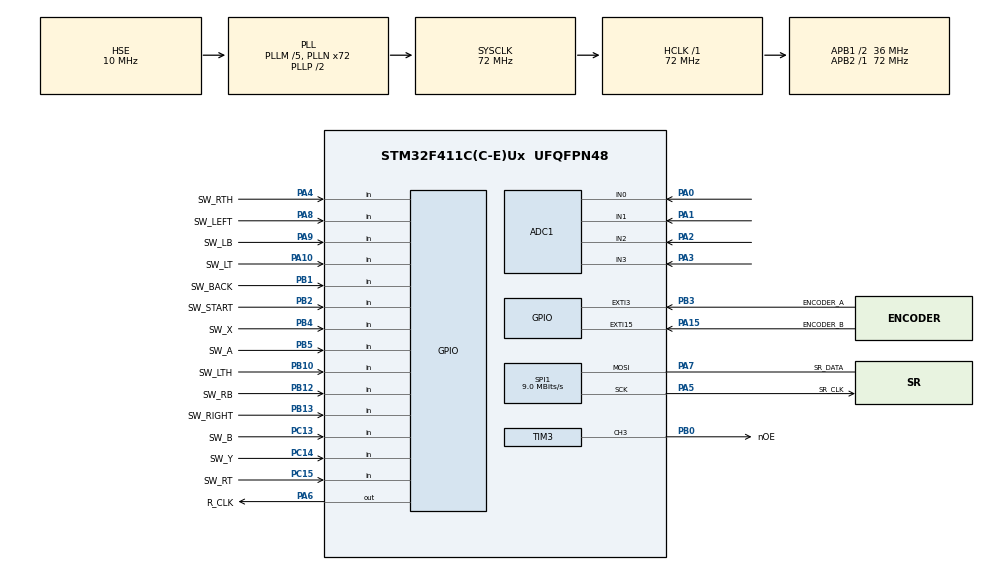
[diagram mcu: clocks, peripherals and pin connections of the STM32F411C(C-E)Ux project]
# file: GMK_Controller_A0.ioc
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ADC1.Channel-4\#ChannelRegularConversion=ADC_CHANNEL_0
ADC1.Channel-5\#ChannelRegularConversion=ADC_CHANNEL_1
ADC1.Channel-6\#ChannelRegularConversion=ADC_CHANNEL_2
ADC1.Channel-7\#ChannelRegularConversion=ADC_CHANNEL_3
ADC1.DMAContinuousRequests=ENABLE
ADC1.EOCSelection=ADC_EOC_SEQ_CONV
ADC1.NbrOfConversion=4
ADC1.NbrOfConversionFlag=1
ADC1.Rank-4\#ChannelRegularConversion=1
ADC1.Rank-5\#ChannelRegularConversion=2
ADC1.Rank-6\#ChannelRegularConversion=3
ADC1.Rank-7\#ChannelRegularConversion=4
ADC1.SamplingTime-4\#ChannelRegularConversion=ADC_SAMPLETIME_15CYCLES
ADC1.SamplingTime-5\#ChannelRegularConversion=ADC_SAMPLETIME_15CYCLES
ADC1.SamplingTime-6\#ChannelRegularConversion=ADC_SAMPLETIME_15CYCLES
ADC1.SamplingTime-7\#ChannelRegularConversion=ADC_SAMPLETIME_15CYCLES
ADC1.ScanConvMode=ENABLE
ADC1.master=1
Dma.ADC1.0.Direction=DMA_PERIPH_TO_MEMORY
Dma.ADC1.0.FIFOMode=DMA_FIFOMODE_DISABLE
Dma.ADC1.0.Instance=DMA2_Stream0
Dma.ADC1.0.MemDataAlignment=DMA_MDATAALIGN_HALFWORD
Dma.ADC1.0.MemInc=DMA_MINC_ENABLE
Dma.ADC1.0.Mode=DMA_NORMAL
Dma.ADC1.0.PeriphDataAlignment=DMA_PDATAALIGN_HALFWORD
Dma.ADC1.0.PeriphInc=DMA_PINC_DISABLE
Dma.ADC1.0.Priority=DMA_PRIORITY_LOW
Dma.Request0=ADC1
Mcu.Family=STM32F4
Mcu.Name=STM32F411C(C-E)Ux
Mcu.Package=UFQFPN48
NVIC.ADC_IRQn=true\:0\:0\:false\:false\:true\:true\:true\:true
NVIC.DMA2_Stream0_IRQn=true\:0\:0\:false\:false\:true\:false\:true\:true
NVIC.EXTI15_10_IRQn=true\:0\:0\:true\:false\:true\:true\:true\:true
NVIC.EXTI3_IRQn=true\:0\:0\:false\:false\:true\:true\:true\:true
NVIC.PriorityGroup=NVIC_PRIORITYGROUP_4
NVIC.SPI1_IRQn=true\:1\:0\:true\:false\:true\:true\:true\:true
NVIC.TIM1_CC_IRQn=true\:1\:0\:true\:false\:true\:true\:true\:true
PA0-WKUP.Signal=ADCx_IN0
PA1.Signal=ADCx_IN1
PA10.GPIO_Label=SW_LT
PA10.GPIO_PuPd=GPIO_PULLDOWN
PA10.Signal=GPIO_Input
PA13.Mode=Serial_Wire
PA13.Signal=SYS_JTMS-SWDIO
PA14.Mode=Serial_Wire
PA14.Signal=SYS_JTCK-SWCLK
PA15.GPIO_Label=ENCODER_B
PA15.GPIO_ModeDefaultEXTI=GPIO_MODE_IT_RISING_FALLING
PA15.Signal=GPXTI15
PA2.Signal=ADCx_IN2
PA3.Signal=ADCx_IN3
PA4.GPIO_Label=SW_RTH
PA4.GPIO_PuPd=GPIO_PULLDOWN
PA4.Signal=GPIO_Input
PA5.GPIO_Label=SR_CLK
PA5.Mode=Simplex_Bidirectional_Master
PA5.Signal=SPI1_SCK
PA6.GPIO_Label=R_CLK
PA6.Signal=GPIO_Output
PA7.GPIO_Label=SR_DATA
PA7.Mode=Simplex_Bidirectional_Master
PA7.Signal=SPI1_MOSI
PA8.GPIO_Label=SW_LEFT
PA8.GPIO_PuPd=GPIO_PULLDOWN
PA8.Signal=GPIO_Input
PA9.GPIO_Label=SW_LB
PA9.GPIO_PuPd=GPIO_PULLDOWN
PA9.Signal=GPIO_Input
PB0.GPIO_Label=nOE
PB0.Signal=S_TIM3_CH3
PB1.GPIO_Label=SW_BACK
PB1.GPIO_PuPd=GPIO_PULLDOWN
PB1.Signal=GPIO_Input
PB10.GPIO_Label=SW_LTH
PB10.GPIO_PuPd=GPIO_PULLDOWN
PB10.Signal=GPIO_Input
PB12.GPIO_Label=SW_RB
PB12.GPIO_PuPd=GPIO_PULLDOWN
PB12.Signal=GPIO_Input
PB13.GPIO_Label=SW_RIGHT
PB13.GPIO_PuPd=GPIO_PULLDOWN
PB13.Signal=GPIO_Input
PB2.GPIO_Label=SW_START
PB2.GPIO_PuPd=GPIO_PULLDOWN
PB2.Signal=GPIO_Input
PB3.GPIO_Label=ENCODER_A
PB3.GPIO_ModeDefaultEXTI=GPIO_MODE_IT_RISING_FALLING
PB3.Signal=GPXTI3
PB4.GPIO_Label=SW_X
PB4.GPIO_PuPd=GPIO_PULLDOWN
PB4.Signal=GPIO_Input
PB5.GPIO_Label=SW_A
PB5.GPIO_PuPd=GPIO_PULLDOWN
PB5.Signal=GPIO_Input
PC13-ANTI_TAMP.GPIO_Label=SW_B
PC13-ANTI_TAMP.GPIO_PuPd=GPIO_PULLDOWN
PC13-ANTI_TAMP.Signal=GPIO_Input
PC14-OSC32_IN.GPIO_Label=SW_Y
PC14-OSC32_IN.GPIO_PuPd=GPIO_PULLDOWN
PC14-OSC32_IN.Signal=GPIO_Input
PC15-OSC32_OUT.GPIO_Label=SW_RT
PC15-OSC32_OUT.GPIO_PuPd=GPIO_PULLDOWN
PC15-OSC32_OUT.Signal=GPIO_Input
PH0\ -\ OSC_IN.Mode=HSE-External-Oscillator
PH0\ -\ OSC_IN.Signal=RCC_OSC_IN
PH1\ -\ OSC_OUT.Mode=HSE-External-Oscillator
PH1\ -\ OSC_OUT.Signal=RCC_OSC_OUT
ProjectManager.HeapSize=0x200
ProjectManager.StackSize=0x400
ProjectManager.TargetToolchain=STM32CubeIDE
RCC.48MHZClocksFreq_Value=48000000
RCC.AHBFreq_Value=72000000
RCC.APB1CLKDivider=RCC_HCLK_DIV2
RCC.APB1Freq_Value=36000000
RCC.APB1TimFreq_Value=72000000
RCC.APB2Freq_Value=72000000
RCC.APB2TimFreq_Value=72000000
RCC.CortexFreq_Value=72000000
RCC.HCLKFreq_Value=72000000
RCC.HSE_VALUE=10000000
RCC.HSI_VALUE=16000000
RCC.LSE_VALUE=32768
RCC.PLLM=5
RCC.PLLN=72
RCC.PLLQ=3
RCC.PLLSourceVirtual=RCC_PLLSOURCE_HSE
RCC.SYSCLKFreq_VALUE=72000000
RCC.SYSCLKSource=RCC_SYSCLKSOURCE_PLLCLK
RCC.VCOOutputFreq_Value=144000000
SH.ADCx_IN0.0=ADC1_IN0,IN0
SH.ADCx_IN1.0=ADC1_IN1,IN1
SH.ADCx_IN2.0=ADC1_IN2,IN2
SH.ADCx_IN3.0=ADC1_IN3,IN3
SH.S_TIM3_CH3.0=TIM3_CH3,PWM Generation3 CH3
SPI1.BaudRatePrescaler=SPI_BAUDRATEPRESCALER_8
SPI1.CalculateBaudRate=9.0 MBits/s
SPI1.Direction=SPI_DIRECTION_1LINE
SPI1.FirstBit=SPI_FIRSTBIT_LSB
SPI1.Mode=SPI_MODE_MASTER
SPI1.VirtualType=VM_MASTER
TIM1.AutoReloadPreload=TIM_AUTORELOAD_PRELOAD_ENABLE
TIM1.AutomaticOutput=TIM_AUTOMATICOUTPUT_DISABLE
TIM1.Channel-Output\ Compare1\ No\ Output=TIM_CHANNEL_1
TIM1.Channel-Output\ Compare2\ No\ Output=TIM_CHANNEL_2
TIM1.Channel-Output\ Compare3\ No\ Output=TIM_CHANNEL_3
TIM1.Channel-Output\ Compare4\ No\ Output=TIM_CHANNEL_4
TIM1.OC1Preload=ENABLE
TIM1.OC2Preload=ENABLE
TIM1.OC3Preload=ENABLE
TIM1.OC4Preload=ENABLE
TIM1.OCMode_1=TIM_OCMODE_ACTIVE
TIM1.OCMode_2=TIM_OCMODE_ACTIVE
TIM1.OCMode_3=TIM_OCMODE_ACTIVE
TIM1.OCMode_4=TIM_OCMODE_ACTIVE
TIM1.OCPolarity_1=TIM_OCPOLARITY_HIGH
TIM1.OCPolarity_2=TIM_OCPOLARITY_HIGH
TIM1.OCPolarity_3=TIM_OCPOLARITY_HIGH
TIM1.OCPolarity_4=TIM_OCPOLARITY_HIGH
TIM1.OffStateIDLEMode=TIM_OSSI_DISABLE
TIM1.Period=719
TIM1.Prescaler=99
TIM1.Pulse-Output\ Compare1\ No\ Output=179
TIM1.Pulse-Output\ Compare2\ No\ Output=359
TIM1.Pulse-Output\ Compare3\ No\ Output=539
TIM1.Pulse-Output\ Compare4\ No\ Output=3599
TIM1.TIM_MasterOutputTrigger=TIM_TRGO_RESET
TIM3.Channel-PWM\ Generation3\ CH3=TIM_CHANNEL_3
TIM3.OCFastMode_PWM-PWM\ Generation3\ CH3=TIM_OCFAST_ENABLE
TIM3.OCPolarity_3=TIM_OCPOLARITY_LOW
TIM3.Period=255
TIM3.Prescaler=2343
TIM3.Pulse-PWM\ Generation3\ CH3=0
VP_TIM1_VS_ClockSourceINT.Mode=Internal
VP_TIM1_VS_no_output1.Mode=Output Compare1 No Output
VP_TIM1_VS_no_output2.Mode=Output Compare2 No Output
VP_TIM1_VS_no_output3.Mode=Output Compare3 No Output
VP_TIM1_VS_no_output4.Mode=Output Compare4 No Output
VP_TIM2_VS_ClockSourceINT.Mode=Internal
VP_TIM3_VS_ClockSourceINT.Mode=Internal
VP_TIM4_VS_ClockSourceINT.Mode=Internal
board=custom

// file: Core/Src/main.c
/* USER CODE BEGIN Header */
/**
  ******************************************************************************
  * @file           : main.c
  * @brief          : Main program body
  ******************************************************************************
  * @attention
  *
  * <h2><center>&copy; Copyright (c) 2021 STMicroelectronics.
  * All rights reserved.</center></h2>
  *
  *
  * This software component is licensed by ST under BSD 3-Clause license,
  * the "License"; You may not use this file except in compliance with the
  * License. You may obtain a copy of the License at:
  *                        opensource.org/licenses/BSD-3-Clause
  *
  ******************************************************************************
  */
/* USER CODE END Header */
#include "main.h"

/* USER CODE BEGIN Includes */

#include "stm32f4xx_hal.h"
#include "usb_device.h"
#include "usbd_hid.h"
#include "buttonswitch.h"
#include "led_controller.h"
#include "controller_config.h"
#include "rotary_encoder.h"
#include "joystick.h"
#include "serial_comm.h"

/* USER CODE END Includes */

ADC_HandleTypeDef hadc1;
DMA_HandleTypeDef hdma_adc1;

SPI_HandleTypeDef hspi1;

TIM_HandleTypeDef htim1;
TIM_HandleTypeDef htim2;
TIM_HandleTypeDef htim3;
TIM_HandleTypeDef htim4;

/* USER CODE BEGIN PV */

//Declare ADC buffer for joysticks
uint16_t adc_buffer[4];

//Create event buffer (FIFO) to store events to process
State_TypeDef event_state[EVENT_BUFFER_LENGTH];
uint8_t event_index_read = 0;
uint8_t event_index_write = 0;
uint8_t event_difference = 0;

//Keyboard Event buffer (FIFO) to store keyboard event addresses and string lengths
uint8_t *keyboard_event_string_addresses[KEYBOARD_EVENT_BUFFER_LENGTH];
uint8_t keyboard_event_string_lengths[KEYBOARD_EVENT_BUFFER_LENGTH];
uint8_t keyboard_event_index_read = 0;
uint8_t keyboard_event_index_write = 0;

//Declare Joysticks
Joystick_HandleTypeDef joysticks[2];

//Declare RotaryEncoder
RotaryEncoder_HandleTypeDef rotary_encoder;

//Declare ButtonSwitches
ButtonSwitch_HandleTypeDef buttons[14];

//Declare controller configuration profile, default to 0 on reset
uint8_t controller_config_profile = 0;

//Declare led controller
LED_Controller_HandleTypeDef led_controller;

//Declare controller configuration
Controller_Config_HandleTypeDef controller_config;

//Declare controller data
Controller_HandleTypeDef controller;
uint8_t controller_cdc_output_flag = 0;

/* USER CODE END PV */

void SystemClock_Config(void);
static void MX_GPIO_Init(void);
static void MX_DMA_Init(void);
static void MX_TIM1_Init(void);
static void MX_TIM2_Init(void);
static void MX_TIM3_Init(void);
static void MX_SPI1_Init(void);
static void MX_ADC1_Init(void);
static void MX_TIM4_Init(void);
/* USER CODE BEGIN PFP */

extern void Send_HID_Data(Controller_HandleTypeDef* controller);

/* USER CODE END PFP */

int main(void)
{

  /* MCU Configuration--------------------------------------------------------*/

  /* Reset of all peripherals, Initializes the Flash interface and the Systick. */
  HAL_Init();

  /* Configure the system clock */
  SystemClock_Config();

  /* Initialize all configured peripherals */
  MX_GPIO_Init();
  MX_DMA_Init();
  MX_TIM1_Init();
  MX_TIM2_Init();
  MX_TIM3_Init();
  MX_SPI1_Init();
  MX_ADC1_Init();
  MX_TIM4_Init();
  /* USER CODE BEGIN 2 */

  //Initialize USB
  HAL_USBD_Setup();
  UsbDevice_Init();

  //Start Timers 2 & 4
  HAL_TIM_Base_Start(&htim2);
  HAL_TIM_Base_Start(&htim4);

  //Start PWM Timer 3 channel 3
  HAL_TIM_PWM_Start(&htim3, TIM_CHANNEL_3);

  //Start OC Timer 1 channels 1 through 4
  HAL_TIM_OC_Start_IT(&htim1, TIM_CHANNEL_1);
  HAL_TIM_OC_Start_IT(&htim1, TIM_CHANNEL_2);
  HAL_TIM_OC_Start_IT(&htim1, TIM_CHANNEL_3);
  HAL_TIM_OC_Start_IT(&htim1, TIM_CHANNEL_4);

  //Initialize Joysticks
  joysticks[0] = Joystick_Init(&adc_buffer[0], &adc_buffer[1], JOYSTICK_LEFT_FLIP_X, JOYSTICK_LEFT_FLIP_Y); // Left joystick
  joysticks[1] = Joystick_Init(&adc_buffer[2], &adc_buffer[3], JOYSTICK_RIGHT_FLIP_X, JOYSTICK_RIGHT_FLIP_Y); // Right joystick

  //Initialize RotaryEncoder
  rotary_encoder = RotaryEncoder_Init(&htim2, ENCODER_A_GPIO_Port, ENCODER_A_Pin, ENCODER_B_GPIO_Port, ENCODER_B_Pin, 12.0f, 24.0f, 72000000.0f, 0); // 12 PPR, 24 DPP & 72 MHz, non-inverted

  //Initialize ButtonSwitches
  buttons[0] = ButtonSwitch_Init(&htim2, SW_A_GPIO_Port, SW_A_Pin, GPIO_PIN_RESET);
  buttons[1] = ButtonSwitch_Init(&htim2, SW_B_GPIO_Port, SW_B_Pin, GPIO_PIN_RESET);
  buttons[2] = ButtonSwitch_Init(&htim2, SW_X_GPIO_Port, SW_X_Pin, GPIO_PIN_RESET);
  buttons[3] = ButtonSwitch_Init(&htim2, SW_Y_GPIO_Port, SW_Y_Pin, GPIO_PIN_RESET);
  buttons[4] = ButtonSwitch_Init(&htim2, SW_LB_GPIO_Port, SW_LB_Pin, GPIO_PIN_RESET);
  buttons[5] = ButtonSwitch_Init(&htim2, SW_RB_GPIO_Port, SW_RB_Pin, GPIO_PIN_RESET);
  buttons[6] = ButtonSwitch_Init(&htim2, SW_LTH_GPIO_Port, SW_LTH_Pin, GPIO_PIN_RESET);
  buttons[7] = ButtonSwitch_Init(&htim2, SW_RTH_GPIO_Port, SW_RTH_Pin, GPIO_PIN_RESET);
  buttons[8] = ButtonSwitch_Init(&htim2, SW_LEFT_GPIO_Port, SW_LEFT_Pin, GPIO_PIN_RESET);
  buttons[9] = ButtonSwitch_Init(&htim2, SW_RIGHT_GPIO_Port, SW_RIGHT_Pin, GPIO_PIN_RESET);
  buttons[10] = ButtonSwitch_Init(&htim2, SW_START_GPIO_Port, SW_START_Pin, GPIO_PIN_RESET);
  buttons[11] = ButtonSwitch_Init(&htim2, SW_BACK_GPIO_Port, SW_BACK_Pin, GPIO_PIN_RESET);
  buttons[12] = ButtonSwitch_Init(&htim2, SW_LT_GPIO_Port, SW_LT_Pin, GPIO_PIN_RESET);
  buttons[13] = ButtonSwitch_Init(&htim2, SW_RT_GPIO_Port, SW_RT_Pin, GPIO_PIN_RESET);

  //Initialize Led Controller
  led_controller = LED_Controller_Init(&htim3, &hspi1, R_CLK_GPIO_Port, R_CLK_Pin, &(htim3.Instance->CCR3));

  //Initialize controller configuration with first profile
  controller_config = Controller_Config_Init(controller_config_profile, &led_controller);

  /* USER CODE END 2 */

  /* Infinite loop */
  /* USER CODE BEGIN WHILE */

  //Initialize the event state buffer
  for(uint8_t i = 0; i < EVENT_BUFFER_LENGTH; i++){
	  event_state[i] = EVENT_WAIT;
  }

  while (1)
  {
	LED_Controller_Update(&led_controller); //Update LED Color
	switch(event_state[event_index_read]){
		case EVENT_WAIT:
			UpdateAllButtons(); //Read Button States
			break;
		case TIM_EVENT_1:
			HAL_ADC_Start_DMA(&hadc1, (uint32_t *)adc_buffer, 4); //Trigger Joystick ADC read
			break;
		case TIM_EVENT_2:
			Controller_Config_MapControllerData(&controller_config, &controller); //Map Controller Configuration Data
			break;
		case TIM_EVENT_3:
			write_next_event_state(USB_EVENT_HID_GAMEPAD_UPDATE);
			break;
		case TIM_EVENT_4:
			if(controller_cdc_output_flag){
				_write(0, &controller, sizeof(controller)); //Write to USB
				controller_cdc_output_flag = 0;
			}
			Serial_Comm_CheckMessages(); //Read incoming messages
			break;
		case ADC_EVENT_UPDATE:
			Joystick_Update(&(joysticks[0]));
			Joystick_Update(&(joysticks[1]));
			if(joysticks[0].calibrate.flag && joysticks[0].calibrate.iters > 1){
				LED_Controller_ProgressBarUpdate(&led_controller, (1 - ((float)joysticks[0].calibrate.iters / (float)joysticks[0].calibrate.iters_max)));
			}
			else if(joysticks[0].calibrate.iters == 1)
				LED_Controller_ProgressBarDisable(&led_controller);
			break;
		case USB_EVENT_CHANGE_PROFILE:
			Controller_Config_GetConfig(&controller_config, controller_config_profile);
			break;
		case CALIBRATE_JOYSTICKS_EVENT:
			LED_Controller_ProgressBarEnable(&led_controller);
			LED_Controller_ProgressBarUpdate(&led_controller, 0.0f);
			Joystick_Calibrate(&(joysticks[0]), 1000, 0.05f);
			Joystick_Calibrate(&(joysticks[1]), 1000, 0.05f);
			break;
		case USB_EVENT_PING:
			_write(0, &controller_config_profile, sizeof(controller_config_profile));
			break;
		case USB_EVENT_OUTPUT_CONTROLLER_DATA:
			controller_cdc_output_flag = 1;
			break;
		case USB_EVENT_HID_KEYBOARD_UPDATE:
			if(keyboard_event_index_write != keyboard_event_index_read){
				// TODO: Implement a Send Keyboard Event via HID
				event_index_read = (event_index_read + 1) % KEYBOARD_EVENT_BUFFER_LENGTH;
			}
			break;
		case USB_EVENT_HID_GAMEPAD_UPDATE:
			Send_HID_Data(&controller);
			break;
	}
	if(event_index_read != event_index_write){
		event_index_read = (event_index_read + 1) % EVENT_BUFFER_LENGTH;
	}
	else
		write_next_event_state(EVENT_WAIT);
	event_difference = (event_index_write >= event_index_read) ? event_index_write - event_index_read : event_index_write + (UINT8_MAX - event_index_read);
    /* USER CODE END WHILE */

  }
}

void SystemClock_Config(void)
{
  RCC_OscInitTypeDef RCC_OscInitStruct = {0};
  RCC_ClkInitTypeDef RCC_ClkInitStruct = {0};

  /** Configure the main internal regulator output voltage
  */
  __HAL_RCC_PWR_CLK_ENABLE();
  __HAL_PWR_VOLTAGESCALING_CONFIG(PWR_REGULATOR_VOLTAGE_SCALE1);

  /** Initializes the RCC Oscillators according to the specified parameters
  * in the RCC_OscInitTypeDef structure.
  */
  RCC_OscInitStruct.OscillatorType = RCC_OSCILLATORTYPE_HSE;
  RCC_OscInitStruct.HSEState = RCC_HSE_ON;
  RCC_OscInitStruct.PLL.PLLState = RCC_PLL_ON;
  RCC_OscInitStruct.PLL.PLLSource = RCC_PLLSOURCE_HSE;
  RCC_OscInitStruct.PLL.PLLM = 5;
  RCC_OscInitStruct.PLL.PLLN = 72;
  RCC_OscInitStruct.PLL.PLLP = RCC_PLLP_DIV2;
  RCC_OscInitStruct.PLL.PLLQ = 3;
  if (HAL_RCC_OscConfig(&RCC_OscInitStruct) != HAL_OK)
  {
    Error_Handler();
  }

  /** Initializes the CPU, AHB and APB buses clocks
  */
  RCC_ClkInitStruct.ClockType = RCC_CLOCKTYPE_HCLK|RCC_CLOCKTYPE_SYSCLK
                              |RCC_CLOCKTYPE_PCLK1|RCC_CLOCKTYPE_PCLK2;
  RCC_ClkInitStruct.SYSCLKSource = RCC_SYSCLKSOURCE_PLLCLK;
  RCC_ClkInitStruct.AHBCLKDivider = RCC_SYSCLK_DIV1;
  RCC_ClkInitStruct.APB1CLKDivider = RCC_HCLK_DIV2;
  RCC_ClkInitStruct.APB2CLKDivider = RCC_HCLK_DIV1;

  if (HAL_RCC_ClockConfig(&RCC_ClkInitStruct, FLASH_LATENCY_2) != HAL_OK)
  {
    Error_Handler();
  }
}

static void MX_ADC1_Init(void)
{

  ADC_ChannelConfTypeDef sConfig = {0};

  /** Configure the global features of the ADC (Clock, Resolution, Data Alignment and number of conversion)
  */
  hadc1.Instance = ADC1;
  hadc1.Init.ClockPrescaler = ADC_CLOCK_SYNC_PCLK_DIV2;
  hadc1.Init.Resolution = ADC_RESOLUTION_12B;
  hadc1.Init.ScanConvMode = ENABLE;
  hadc1.Init.ContinuousConvMode = DISABLE;
  hadc1.Init.DiscontinuousConvMode = DISABLE;
  hadc1.Init.ExternalTrigConvEdge = ADC_EXTERNALTRIGCONVEDGE_NONE;
  hadc1.Init.ExternalTrigConv = ADC_SOFTWARE_START;
  hadc1.Init.DataAlign = ADC_DATAALIGN_RIGHT;
  hadc1.Init.NbrOfConversion = 4;
  hadc1.Init.DMAContinuousRequests = ENABLE;
  hadc1.Init.EOCSelection = ADC_EOC_SEQ_CONV;
  if (HAL_ADC_Init(&hadc1) != HAL_OK)
  {
    Error_Handler();
  }

  /** Configure for the selected ADC regular channel its corresponding rank in the sequencer and its sample time.
  */
  sConfig.Channel = ADC_CHANNEL_0;
  sConfig.Rank = 1;
  sConfig.SamplingTime = ADC_SAMPLETIME_15CYCLES;
  if (HAL_ADC_ConfigChannel(&hadc1, &sConfig) != HAL_OK)
  {
    Error_Handler();
  }

  /** Configure for the selected ADC regular channel its corresponding rank in the sequencer and its sample time.
  */
  sConfig.Channel = ADC_CHANNEL_1;
  sConfig.Rank = 2;
  if (HAL_ADC_ConfigChannel(&hadc1, &sConfig) != HAL_OK)
  {
    Error_Handler();
  }

  /** Configure for the selected ADC regular channel its corresponding rank in the sequencer and its sample time.
  */
  sConfig.Channel = ADC_CHANNEL_2;
  sConfig.Rank = 3;
  if (HAL_ADC_ConfigChannel(&hadc1, &sConfig) != HAL_OK)
  {
    Error_Handler();
  }

  /** Configure for the selected ADC regular channel its corresponding rank in the sequencer and its sample time.
  */
  sConfig.Channel = ADC_CHANNEL_3;
  sConfig.Rank = 4;
  if (HAL_ADC_ConfigChannel(&hadc1, &sConfig) != HAL_OK)
  {
    Error_Handler();
  }

}

static void MX_SPI1_Init(void)
{

  /* SPI1 parameter configuration*/
  hspi1.Instance = SPI1;
  hspi1.Init.Mode = SPI_MODE_MASTER;
  hspi1.Init.Direction = SPI_DIRECTION_1LINE;
  hspi1.Init.DataSize = SPI_DATASIZE_8BIT;
  hspi1.Init.CLKPolarity = SPI_POLARITY_LOW;
  hspi1.Init.CLKPhase = SPI_PHASE_1EDGE;
  hspi1.Init.NSS = SPI_NSS_SOFT;
  hspi1.Init.BaudRatePrescaler = SPI_BAUDRATEPRESCALER_8;
  hspi1.Init.FirstBit = SPI_FIRSTBIT_LSB;
  hspi1.Init.TIMode = SPI_TIMODE_DISABLE;
  hspi1.Init.CRCCalculation = SPI_CRCCALCULATION_DISABLE;
  hspi1.Init.CRCPolynomial = 10;
  if (HAL_SPI_Init(&hspi1) != HAL_OK)
  {
    Error_Handler();
  }

}

static void MX_TIM1_Init(void)
{

  TIM_ClockConfigTypeDef sClockSourceConfig = {0};
  TIM_MasterConfigTypeDef sMasterConfig = {0};
  TIM_OC_InitTypeDef sConfigOC = {0};
  TIM_BreakDeadTimeConfigTypeDef sBreakDeadTimeConfig = {0};

  htim1.Instance = TIM1;
  htim1.Init.Prescaler = 99;
  htim1.Init.CounterMode = TIM_COUNTERMODE_UP;
  htim1.Init.Period = 719;
  htim1.Init.ClockDivision = TIM_CLOCKDIVISION_DIV1;
  htim1.Init.RepetitionCounter = 0;
  htim1.Init.AutoReloadPreload = TIM_AUTORELOAD_PRELOAD_ENABLE;
  if (HAL_TIM_Base_Init(&htim1) != HAL_OK)
  {
    Error_Handler();
  }
  sClockSourceConfig.ClockSource = TIM_CLOCKSOURCE_INTERNAL;
  if (HAL_TIM_ConfigClockSource(&htim1, &sClockSourceConfig) != HAL_OK)
  {
    Error_Handler();
  }
  if (HAL_TIM_OC_Init(&htim1) != HAL_OK)
  {
    Error_Handler();
  }
  sMasterConfig.MasterOutputTrigger = TIM_TRGO_RESET;
  sMasterConfig.MasterSlaveMode = TIM_MASTERSLAVEMODE_DISABLE;
  if (HAL_TIMEx_MasterConfigSynchronization(&htim1, &sMasterConfig) != HAL_OK)
  {
    Error_Handler();
  }
  sConfigOC.OCMode = TIM_OCMODE_ACTIVE;
  sConfigOC.Pulse = 179;
  sConfigOC.OCPolarity = TIM_OCPOLARITY_HIGH;
  sConfigOC.OCNPolarity = TIM_OCNPOLARITY_HIGH;
  sConfigOC.OCFastMode = TIM_OCFAST_DISABLE;
  sConfigOC.OCIdleState = TIM_OCIDLESTATE_RESET;
  sConfigOC.OCNIdleState = TIM_OCNIDLESTATE_RESET;
  if (HAL_TIM_OC_ConfigChannel(&htim1, &sConfigOC, TIM_CHANNEL_1) != HAL_OK)
  {
    Error_Handler();
  }
  __HAL_TIM_ENABLE_OCxPRELOAD(&htim1, TIM_CHANNEL_1);
  sConfigOC.Pulse = 359;
  if (HAL_TIM_OC_ConfigChannel(&htim1, &sConfigOC, TIM_CHANNEL_2) != HAL_OK)
  {
    Error_Handler();
  }
  __HAL_TIM_ENABLE_OCxPRELOAD(&htim1, TIM_CHANNEL_2);
  sConfigOC.Pulse = 539;
  if (HAL_TIM_OC_ConfigChannel(&htim1, &sConfigOC, TIM_CHANNEL_3) != HAL_OK)
  {
    Error_Handler();
  }
  __HAL_TIM_ENABLE_OCxPRELOAD(&htim1, TIM_CHANNEL_3);
  sConfigOC.Pulse = 3599;
  if (HAL_TIM_OC_ConfigChannel(&htim1, &sConfigOC, TIM_CHANNEL_4) != HAL_OK)
  {
    Error_Handler();
  }
  __HAL_TIM_ENABLE_OCxPRELOAD(&htim1, TIM_CHANNEL_4);
  sBreakDeadTimeConfig.OffStateRunMode = TIM_OSSR_DISABLE;
  sBreakDeadTimeConfig.OffStateIDLEMode = TIM_OSSI_DISABLE;
  sBreakDeadTimeConfig.LockLevel = TIM_LOCKLEVEL_OFF;
  sBreakDeadTimeConfig.DeadTime = 0;
  sBreakDeadTimeConfig.BreakState = TIM_BREAK_DISABLE;
  sBreakDeadTimeConfig.BreakPolarity = TIM_BREAKPOLARITY_HIGH;
  sBreakDeadTimeConfig.AutomaticOutput = TIM_AUTOMATICOUTPUT_DISABLE;
  if (HAL_TIMEx_ConfigBreakDeadTime(&htim1, &sBreakDeadTimeConfig) != HAL_OK)
  {
    Error_Handler();
  }

}

static void MX_TIM2_Init(void)
{

  TIM_ClockConfigTypeDef sClockSourceConfig = {0};
  TIM_MasterConfigTypeDef sMasterConfig = {0};

  htim2.Instance = TIM2;
  htim2.Init.Prescaler = 0;
  htim2.Init.CounterMode = TIM_COUNTERMODE_UP;
  htim2.Init.Period = 4294967295;
  htim2.Init.ClockDivision = TIM_CLOCKDIVISION_DIV1;
  htim2.Init.AutoReloadPreload = TIM_AUTORELOAD_PRELOAD_DISABLE;
  if (HAL_TIM_Base_Init(&htim2) != HAL_OK)
  {
    Error_Handler();
  }
  sClockSourceConfig.ClockSource = TIM_CLOCKSOURCE_INTERNAL;
  if (HAL_TIM_ConfigClockSource(&htim2, &sClockSourceConfig) != HAL_OK)
  {
    Error_Handler();
  }
  sMasterConfig.MasterOutputTrigger = TIM_TRGO_RESET;
  sMasterConfig.MasterSlaveMode = TIM_MASTERSLAVEMODE_DISABLE;
  if (HAL_TIMEx_MasterConfigSynchronization(&htim2, &sMasterConfig) != HAL_OK)
  {
    Error_Handler();
  }

}

static void MX_TIM3_Init(void)
{

  TIM_ClockConfigTypeDef sClockSourceConfig = {0};
  TIM_MasterConfigTypeDef sMasterConfig = {0};
  TIM_OC_InitTypeDef sConfigOC = {0};

  htim3.Instance = TIM3;
  htim3.Init.Prescaler = 2343;
  htim3.Init.CounterMode = TIM_COUNTERMODE_UP;
  htim3.Init.Period = 255;
  htim3.Init.ClockDivision = TIM_CLOCKDIVISION_DIV1;
  htim3.Init.AutoReloadPreload = TIM_AUTORELOAD_PRELOAD_DISABLE;
  if (HAL_TIM_Base_Init(&htim3) != HAL_OK)
  {
    Error_Handler();
  }
  sClockSourceConfig.ClockSource = TIM_CLOCKSOURCE_INTERNAL;
  if (HAL_TIM_ConfigClockSource(&htim3, &sClockSourceConfig) != HAL_OK)
  {
    Error_Handler();
  }
  if (HAL_TIM_PWM_Init(&htim3) != HAL_OK)
  {
    Error_Handler();
  }
  sMasterConfig.MasterOutputTrigger = TIM_TRGO_RESET;
  sMasterConfig.MasterSlaveMode = TIM_MASTERSLAVEMODE_DISABLE;
  if (HAL_TIMEx_MasterConfigSynchronization(&htim3, &sMasterConfig) != HAL_OK)
  {
    Error_Handler();
  }
  sConfigOC.OCMode = TIM_OCMODE_PWM1;
  sConfigOC.Pulse = 0;
  sConfigOC.OCPolarity = TIM_OCPOLARITY_LOW;
  sConfigOC.OCFastMode = TIM_OCFAST_ENABLE;
  if (HAL_TIM_PWM_ConfigChannel(&htim3, &sConfigOC, TIM_CHANNEL_3) != HAL_OK)
  {
    Error_Handler();
  }
  HAL_TIM_MspPostInit(&htim3);

}

static void MX_TIM4_Init(void)
{

  TIM_ClockConfigTypeDef sClockSourceConfig = {0};
  TIM_MasterConfigTypeDef sMasterConfig = {0};

  htim4.Instance = TIM4;
  htim4.Init.Prescaler = 0;
  htim4.Init.CounterMode = TIM_COUNTERMODE_UP;
  htim4.Init.Period = 65535;
  htim4.Init.ClockDivision = TIM_CLOCKDIVISION_DIV1;
  htim4.Init.AutoReloadPreload = TIM_AUTORELOAD_PRELOAD_DISABLE;
  if (HAL_TIM_Base_Init(&htim4) != HAL_OK)
  {
    Error_Handler();
  }
  sClockSourceConfig.ClockSource = TIM_CLOCKSOURCE_INTERNAL;
  if (HAL_TIM_ConfigClockSource(&htim4, &sClockSourceConfig) != HAL_OK)
  {
    Error_Handler();
  }
  sMasterConfig.MasterOutputTrigger = TIM_TRGO_RESET;
  sMasterConfig.MasterSlaveMode = TIM_MASTERSLAVEMODE_DISABLE;
  if (HAL_TIMEx_MasterConfigSynchronization(&htim4, &sMasterConfig) != HAL_OK)
  {
    Error_Handler();
  }

}

static void MX_DMA_Init(void)
{

  /* DMA controller clock enable */
  __HAL_RCC_DMA2_CLK_ENABLE();

  /* DMA interrupt init */
  /* DMA2_Stream0_IRQn interrupt configuration */
  HAL_NVIC_SetPriority(DMA2_Stream0_IRQn, 0, 0);
  HAL_NVIC_EnableIRQ(DMA2_Stream0_IRQn);

}

static void MX_GPIO_Init(void)
{
  GPIO_InitTypeDef GPIO_InitStruct = {0};

  /* GPIO Ports Clock Enable */
  __HAL_RCC_GPIOC_CLK_ENABLE();
  __HAL_RCC_GPIOH_CLK_ENABLE();
  __HAL_RCC_GPIOA_CLK_ENABLE();
  __HAL_RCC_GPIOB_CLK_ENABLE();

  /*Configure GPIO pin Output Level */
  HAL_GPIO_WritePin(R_CLK_GPIO_Port, R_CLK_Pin, GPIO_PIN_RESET);

  /*Configure GPIO pins : SW_B_Pin SW_Y_Pin SW_RT_Pin */
  GPIO_InitStruct.Pin = SW_B_Pin|SW_Y_Pin|SW_RT_Pin;
  GPIO_InitStruct.Mode = GPIO_MODE_INPUT;
  GPIO_InitStruct.Pull = GPIO_PULLDOWN;
  HAL_GPIO_Init(GPIOC, &GPIO_InitStruct);

  /*Configure GPIO pins : SW_RTH_Pin SW_LEFT_Pin SW_LB_Pin SW_LT_Pin */
  GPIO_InitStruct.Pin = SW_RTH_Pin|SW_LEFT_Pin|SW_LB_Pin|SW_LT_Pin;
  GPIO_InitStruct.Mode = GPIO_MODE_INPUT;
  GPIO_InitStruct.Pull = GPIO_PULLDOWN;
  HAL_GPIO_Init(GPIOA, &GPIO_InitStruct);

  /*Configure GPIO pin : R_CLK_Pin */
  GPIO_InitStruct.Pin = R_CLK_Pin;
  GPIO_InitStruct.Mode = GPIO_MODE_OUTPUT_PP;
  GPIO_InitStruct.Pull = GPIO_NOPULL;
  GPIO_InitStruct.Speed = GPIO_SPEED_FREQ_LOW;
  HAL_GPIO_Init(R_CLK_GPIO_Port, &GPIO_InitStruct);

  /*Configure GPIO pins : SW_BACK_Pin SW_START_Pin SW_LTH_Pin SW_RB_Pin
                           SW_RIGHT_Pin SW_X_Pin SW_A_Pin */
  GPIO_InitStruct.Pin = SW_BACK_Pin|SW_START_Pin|SW_LTH_Pin|SW_RB_Pin
                          |SW_RIGHT_Pin|SW_X_Pin|SW_A_Pin;
  GPIO_InitStruct.Mode = GPIO_MODE_INPUT;
  GPIO_InitStruct.Pull = GPIO_PULLDOWN;
  HAL_GPIO_Init(GPIOB, &GPIO_InitStruct);

  /*Configure GPIO pin : ENCODER_B_Pin */
  GPIO_InitStruct.Pin = ENCODER_B_Pin;
  GPIO_InitStruct.Mode = GPIO_MODE_IT_RISING_FALLING;
  GPIO_InitStruct.Pull = GPIO_NOPULL;
  HAL_GPIO_Init(ENCODER_B_GPIO_Port, &GPIO_InitStruct);

  /*Configure GPIO pin : ENCODER_A_Pin */
  GPIO_InitStruct.Pin = ENCODER_A_Pin;
  GPIO_InitStruct.Mode = GPIO_MODE_IT_RISING_FALLING;
  GPIO_InitStruct.Pull = GPIO_NOPULL;
  HAL_GPIO_Init(ENCODER_A_GPIO_Port, &GPIO_InitStruct);

  /* EXTI interrupt init*/
  HAL_NVIC_SetPriority(EXTI3_IRQn, 0, 0);
  HAL_NVIC_EnableIRQ(EXTI3_IRQn);

  HAL_NVIC_SetPriority(EXTI15_10_IRQn, 0, 0);
  HAL_NVIC_EnableIRQ(EXTI15_10_IRQn);

}

/* USER CODE BEGIN 4 */

void UpdateAllButtons(){
	for(uint8_t i = 0; i < 14; i++){
		ButtonSwitch_Update(&(buttons[i]));
	}
}

//Increment event_index_write and write to next event_state in buffer
void write_next_event_state(State_TypeDef next_state){
	event_index_write = (event_index_write + 1) % EVENT_BUFFER_LENGTH;
	event_state[event_index_write] = next_state;
}

//Increment keyboard_event_index_write and write to next event_state in buffer
void write_next_keyboard_event_state(uint8_t *string_address, uint8_t string_length){
	write_next_event_state(USB_EVENT_HID_KEYBOARD_UPDATE);
	keyboard_event_string_addresses[keyboard_event_index_write] = string_address;
	keyboard_event_string_lengths[keyboard_event_index_write] = string_length;
	event_index_write = (keyboard_event_index_write + 1) % KEYBOARD_EVENT_BUFFER_LENGTH;
}

void HAL_ADC_ConvCpltCallback(ADC_HandleTypeDef *hadc){
	write_next_event_state(ADC_EVENT_UPDATE);
}

void HAL_TIM_OC_DelayElapsedCallback(TIM_HandleTypeDef *htim){
	switch(htim->Channel){
		case HAL_TIM_ACTIVE_CHANNEL_1:
			write_next_event_state(TIM_EVENT_1);
			break;
		case HAL_TIM_ACTIVE_CHANNEL_2:
			write_next_event_state(TIM_EVENT_2);
			break;
		case HAL_TIM_ACTIVE_CHANNEL_3:
			write_next_event_state(TIM_EVENT_3);
			break;
		case HAL_TIM_ACTIVE_CHANNEL_4:
			write_next_event_state(TIM_EVENT_4);
			break;
		default:
			break;
	}
}

#define BUF_LEN 128
uint8_t index = 0;
RotaryEncoder_DirectionTypeDef direction_buffer[BUF_LEN];
RotaryEncoder_StateTypeDef state_buffer[BUF_LEN];
int8_t direction_counts_buffer[BUF_LEN];

void HAL_GPIO_EXTI_Callback(uint16_t GPIO_Pin){
	if(GPIO_Pin == ENCODER_A_Pin || GPIO_Pin == ENCODER_B_Pin){
		RotaryEncoder_Update(&rotary_encoder);

		direction_buffer[index] = rotary_encoder.direction;
		state_buffer[index] = rotary_encoder.state.current;
		direction_counts_buffer[index] = rotary_encoder.steps.count;

		index = (index + 1) % BUF_LEN;
	}
}

void HAL_SPI_TxCpltCallback(SPI_HandleTypeDef *hspi){
	LED_Controller_Latch(&led_controller, GPIO_PIN_SET); //Latch new led output
}

/* USER CODE END 4 */

void Error_Handler(void)
{
  __disable_irq();
  while (1)
  {
  }
}
